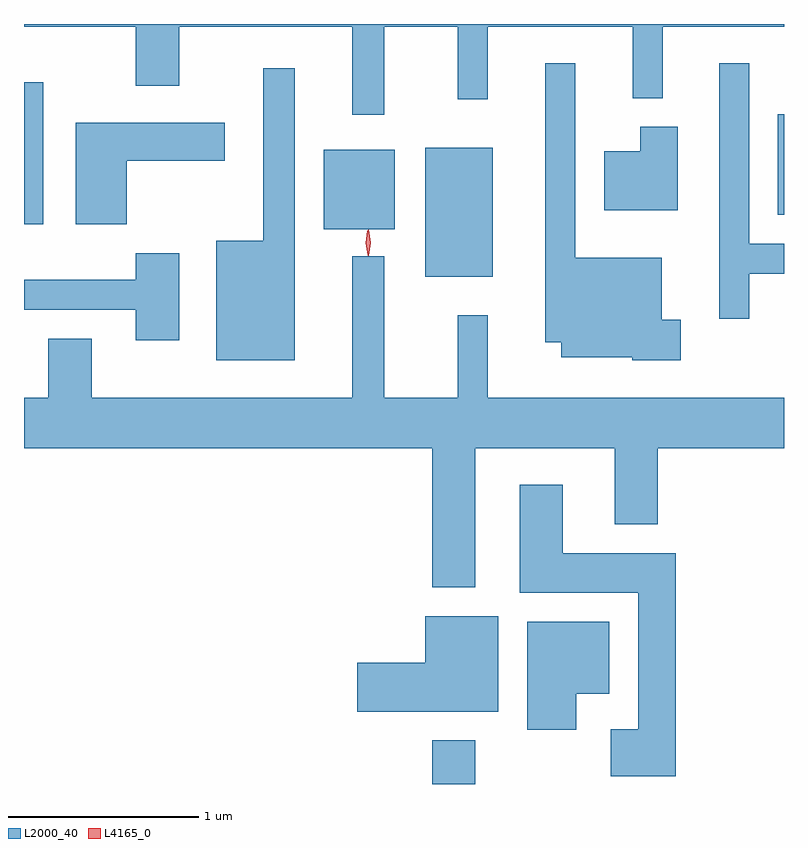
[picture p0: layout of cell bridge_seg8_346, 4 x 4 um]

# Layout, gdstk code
import gdstk
lib = gdstk.Library(unit=1e-6, precision=1e-09)
def R(c, l, rs):  # rectangles x0, y0, x1, y1
    for r in rs: c.add(gdstk.rectangle(r[:2], r[2:], *l))
def P(c, l, *ps):  # polygons
    for p in ps: c.add(gdstk.Polygon(p, *l))
L2000_40 = (2000, 40)
L4165_0 = (4165, 0)

bridge_seg8_346 = lib.new_cell('bridge_seg8_346')
R(bridge_seg8_346, L2000_40, [(771.801,1921.23,772.029,1921.459), (771.766,1923.901,772.119,1924.579), (771.231,1924.151,771.604,1924.569), (769.653,1924.176,769.754,1924.924), (773.621,1924.226,773.653,1924.754)])
P(bridge_seg8_346, L2000_40, [(771.549,1925.216),(771.936,1925.216),(771.936,1924.833),(772.094,1924.833),(772.094,1925.216),(772.856,1925.216),(772.856,1924.838),(773.014,1924.838),(773.014,1925.216),(773.653,1925.216),(773.653,1925.23),(769.653,1925.23),(769.653,1925.216),(770.241,1925.216),(770.241,1924.906),(770.469,1924.906),(770.469,1925.216),(771.381,1925.216),(771.381,1924.753),(771.549,1924.753)],
  [(773.109,1923.674),(773.009,1923.674),(773.009,1923.999),(772.554,1923.999),(772.554,1925.023),(772.396,1925.023),(772.396,1923.556),(772.481,1923.556),(772.481,1923.476),(772.855,1923.476),(772.855,1923.461),(773.109,1923.461)],
  [(773.469,1923.916),(773.653,1923.916),(773.653,1924.074),(773.469,1924.074),(773.469,1925.023),(773.311,1925.023),(773.311,1923.678),(773.469,1923.678)],
  [(771.079,1924.998),(770.911,1924.998),(770.911,1924.089),(770.666,1924.089),(770.666,1923.461),(771.079,1923.461)],
  [(770.194,1924.511),(770.709,1924.511),(770.709,1924.709),(769.926,1924.709),(769.926,1924.176),(770.194,1924.176)],
  [(773.094,1924.689),(772.896,1924.689),(772.896,1924.559),(772.706,1924.559),(772.706,1924.251),(773.094,1924.251)],
  [(770.469,1924.024),(770.241,1924.024),(770.241,1923.884),(769.653,1923.884),(769.653,1923.726),(770.241,1923.726),(770.241,1923.566),(770.469,1923.566)],
  [(772.029,1922.996),(772.761,1922.996),(772.761,1922.596),(772.989,1922.596),(772.989,1922.996),(773.653,1922.996),(773.653,1923.264),(772.094,1923.264),(772.094,1923.698),(771.936,1923.698),(771.936,1923.264),(771.549,1923.264),(771.549,1924.008),(771.381,1924.008),(771.381,1923.264),(770.009,1923.264),(770.009,1923.574),(769.781,1923.574),(769.781,1923.264),(769.653,1923.264),(769.653,1922.996),(771.801,1922.996),(771.801,1922.266),(772.029,1922.266)],
  [(773.084,1922.444),(772.489,1922.444),(772.489,1922.804),(772.261,1922.804),(772.261,1922.236),(772.886,1922.236),(772.886,1921.519),(772.741,1921.519),(772.741,1921.271),(773.084,1921.271)],
  [(772.149,1922.114),(771.766,1922.114),(771.766,1921.869),(771.406,1921.869),(771.406,1921.611),(772.149,1921.611)],
  [(772.559,1921.706),(772.734,1921.706),(772.734,1922.084),(772.301,1922.084),(772.301,1921.516),(772.559,1921.516)])
P(bridge_seg8_346, L4165_0, [(771.466,1924.01),(771.457,1924.078),(771.466,1924.146),(771.467,1924.146),(771.467,1924.146),(771.477,1924.078),(771.467,1924.01),(771.467,1924.01)],
  [(771.463,1924.013),(771.452,1924.077),(771.46,1924.141),(771.46,1924.142),(771.461,1924.141),(771.472,1924.077),(771.464,1924.013),(771.464,1924.013)])

lib.write_gds('bridge_seg8_346.gds')
